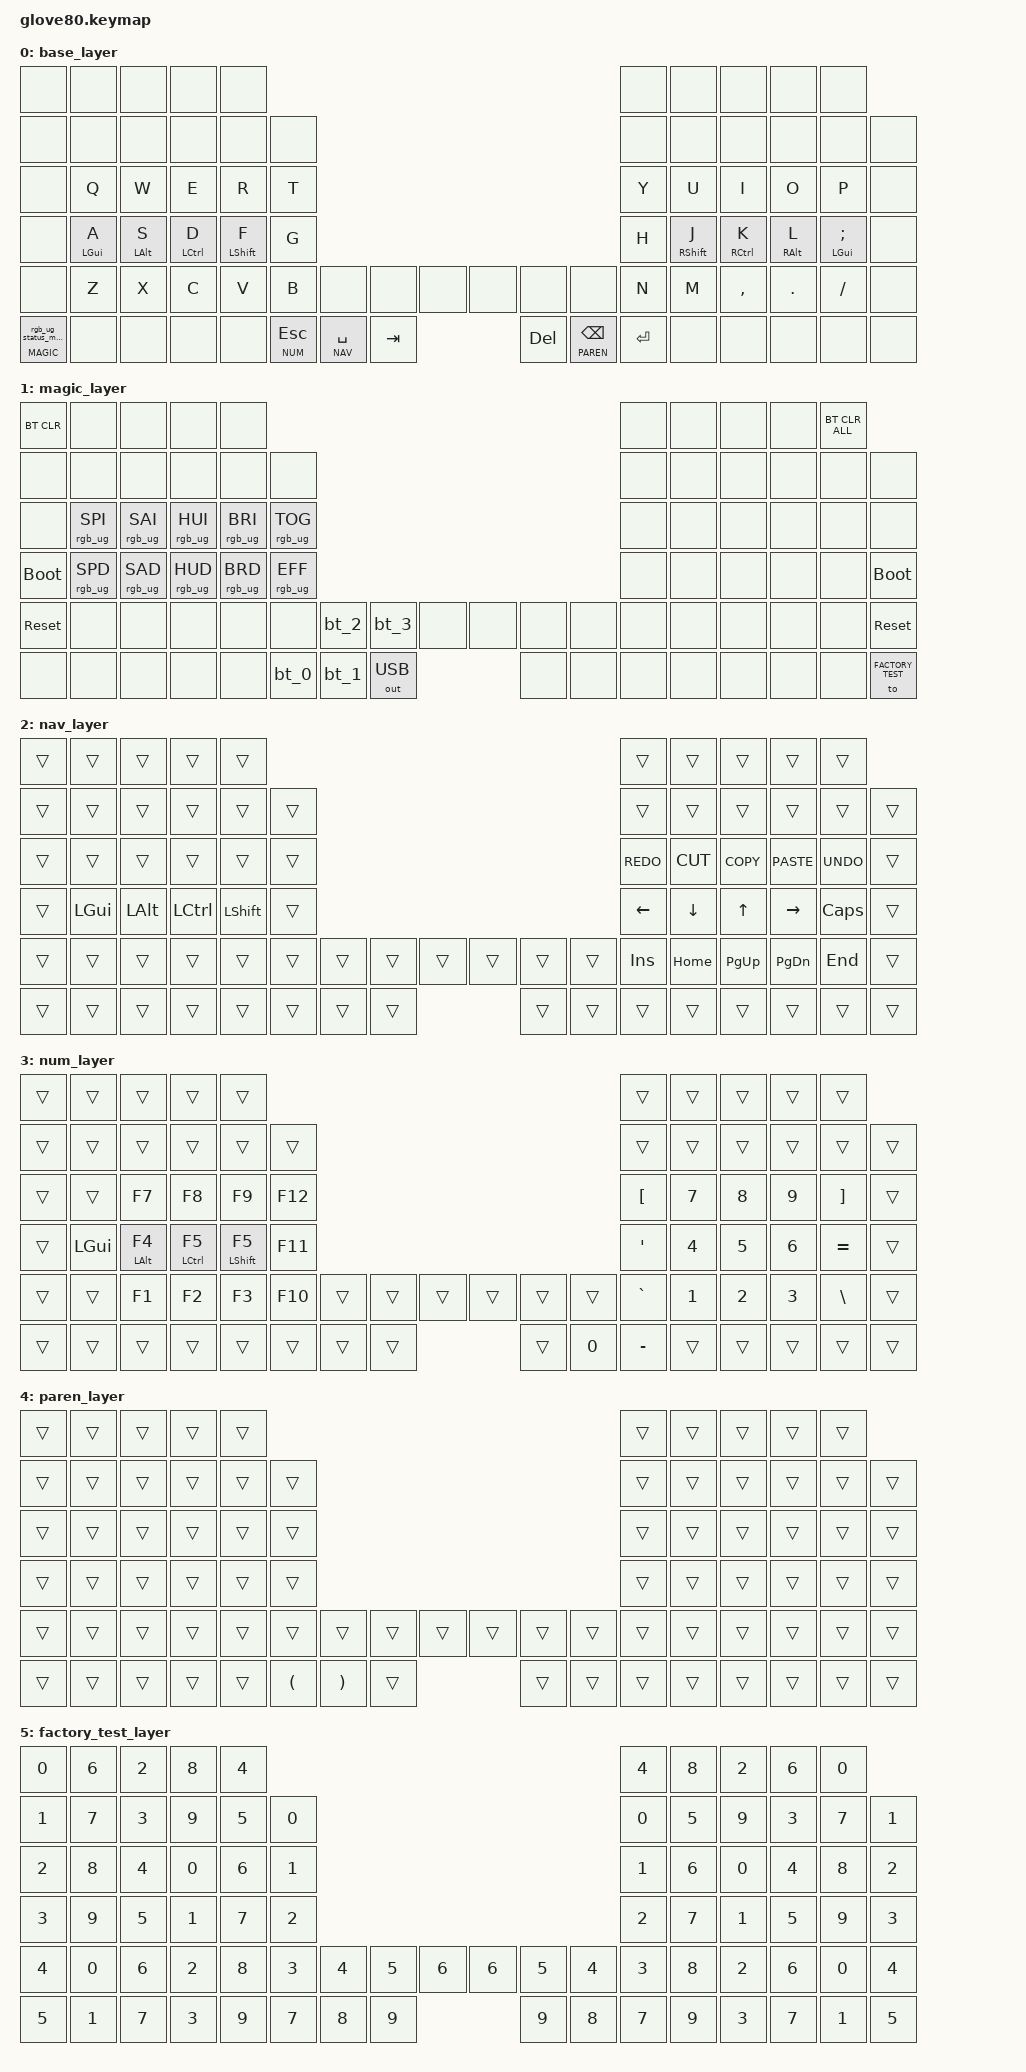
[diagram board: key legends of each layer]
/*
 * Copyright (c) 2020 The ZMK Contributors
 *
 * SPDX-License-Identifier: MIT
 */

#include <behaviors.dtsi>
#include <dt-bindings/zmk/keys.h>
#include <dt-bindings/zmk/bt.h>
#include <dt-bindings/zmk/ext_power.h>
#include <dt-bindings/zmk/outputs.h>
#include <dt-bindings/zmk/rgb.h>

// layers
#define DEFAULT 0
#define MAGIC 1
#define NAV 2
#define NUM 3
#define PAREN 4
#define FACTORY_TEST 5

/ {
    behaviors {
        magic: magic_hold_tap {
            compatible = "zmk,behavior-hold-tap";
            label = "MAGIC_HOLD_TAP";
            #binding-cells = <2>;
            flavor = "tap-preferred";
            tapping-term-ms = <200>;
            bindings = <&mo>, <&rgb_ug_status_macro>;
        };
        bhm: balanced_homerow_mods {
            compatible = "zmk,behavior-hold-tap";
            #binding-cells = <2>;
            tapping-term-ms = <200>;
            quick-tap-ms = <0>;
            flavor = "balanced";
            bindings = <&kp>, <&kp>;
        };
    };

    macros {
        rgb_ug_status_macro: rgb_ug_status_macro_0 {
            label = "RGB_UG_STATUS";
            compatible = "zmk,behavior-macro";
            #binding-cells = <0>;
            bindings
                = <&rgb_ug RGB_STATUS>;
        };

        bt_0: bt_profile_macro_0 {
            label = "BT_0";
            compatible = "zmk,behavior-macro";
            #binding-cells = <0>;
            bindings
                = <&out OUT_BLE>,
                  <&bt BT_SEL 0>;
        };

        bt_1: bt_profile_macro_1 {
            label = "BT_1";
            compatible = "zmk,behavior-macro";
            #binding-cells = <0>;
            bindings
                = <&out OUT_BLE>,
                  <&bt BT_SEL 1>;
        };

        bt_2: bt_profile_macro_2 {
            label = "BT_2";
            compatible = "zmk,behavior-macro";
            #binding-cells = <0>;
            bindings
                = <&out OUT_BLE>,
                  <&bt BT_SEL 2>;
        };

        bt_3: bt_profile_macro_3 {
            label = "BT_3";
            compatible = "zmk,behavior-macro";
            #binding-cells = <0>;
            bindings
                = <&out OUT_BLE>,
                  <&bt BT_SEL 3>;
        };
    };

    keymap {
        compatible = "zmk,keymap";

        base_layer {
            // ---------------------------------------------------------------------------------------------------------------------------------
            // |  --   |  -- |  -- |  --  |  --  |                                                               |  --   |  --   |  --  |   --  |   -- |
            // |  --   |  -- |  -- |  --  |  --  |  --  |                                                 |  --  |   --  |   --  |  --  |   --  |   -- |
            // |  --   |  Q  |  W  |  E   |  R   |  T   |                                                 |  Y   |   U   |   I   |  O   |   P   |   -- |
            // |  --   |  A  |  S  |  D   |  F   |  G   |                                                 |  H   |   J   |   K   |  L   |   ;   |   -- |
            // |  --   |  Z  |  X  |  C   |  V   |  B   |   --  |   --  |   --  | |   --  |   --  |   --  |  N   |   M   |   ,   |  .   |   /   |   -- |
            // | MAGIC | --  |  -- |  --  |  --  |      |   TAB |   ESC | SPACE | |  BSPC |   RET |   DEL |      |   --  |   --  |  --  |   --  |   -- |

            bindings = <
            &none          &none       &none       &none        &none                                                                                      &none         &none         &none        &none       &none
            &none          &none       &none       &none        &none         &none                                                                        &none         &none         &none        &none       &none             &none
            &none          &kp Q       &kp W       &kp E        &kp R         &kp T                                                                        &kp Y         &kp U         &kp I        &kp O       &kp P             &none
            &none          &bhm LGUI A &bhm LALT S &bhm LCTRL D &bhm LSHIFT F &kp G                                                                        &kp H         &bhm RSHIFT J &bhm RCTRL K &bhm RALT L &bhm LGUI SEMI    &none
            &none          &kp Z       &kp X       &kp C        &kp V         &kp B &none       &none         &none       &none         &none        &none &kp N         &kp M         &kp COMMA    &kp DOT     &kp FSLH          &none
            &magic MAGIC 0 &none       &none       &none        &none               &lt NUM ESC &lt NAV SPACE &kp TAB     &kp DEL       &lt PAREN BSPC     &kp RET             &none         &none        &none       &none             &none
            >;
        };

        magic_layer {
            bindings = <
            &bt BT_CLR        &none               &none           &none           &none                                                                                                           &none      &none      &none      &none      &bt BT_CLR_ALL
            &none             &none               &none           &none           &none           &none                                                                                &none      &none      &none      &none      &none      &none
            &none             &rgb_ug RGB_SPI     &rgb_ug RGB_SAI &rgb_ug RGB_HUI &rgb_ug RGB_BRI &rgb_ug RGB_TOG                                                                      &none      &none      &none      &none      &none      &none
            &bootloader       &rgb_ug RGB_SPD     &rgb_ug RGB_SAD &rgb_ug RGB_HUD &rgb_ug RGB_BRD &rgb_ug RGB_EFF                                                                      &none      &none      &none      &none      &none      &bootloader
            &sys_reset        &none               &none           &none           &none           &none           &bt_2     &bt_3     &none            &none     &none     &none       &none      &none      &none      &none      &none      &sys_reset
            &none             &none               &none           &none           &none                           &bt_0     &bt_1     &out OUT_USB     &none     &none     &none                  &none      &none      &none      &none      &to FACTORY_TEST
            >;
        };

        nav_layer {
            bindings = <
            &trans        &trans        &trans        &trans        &trans                                                                                                  &trans        &trans        &trans        &trans        &trans
            &trans        &trans        &trans        &trans        &trans        &trans                                                                      &trans        &trans        &trans        &trans        &trans        &trans
            &trans        &trans        &trans        &trans        &trans        &trans                                                                      &kp K_REDO    &kp K_CUT     &kp K_COPY    &kp K_PASTE   &kp K_UNDO    &trans
            &trans        &kp LGUI      &kp LALT      &kp LCTRL     &kp LSHIFT    &trans                                                                      &kp LEFT      &kp DOWN      &kp UP        &kp RIGHT     &kp CAPS      &trans
            &trans        &trans        &trans        &trans        &trans        &trans          &trans   &trans  &trans   &trans   &trans   &trans          &kp INSERT    &kp HOME      &kp PG_UP     &kp PG_DN     &kp END       &trans
            &trans        &trans        &trans        &trans        &trans                        &trans   &trans  &trans   &trans   &trans   &trans                        &trans        &trans        &trans        &trans        &trans
            >;
        };

       num_layer {
            bindings = <
            &trans        &trans        &trans        &trans        &trans                                                                                                  &trans        &trans        &trans        &trans        &trans
            &trans        &trans        &trans        &trans        &trans        &trans                                                                      &trans        &trans        &trans        &trans        &trans        &trans
            &trans        &trans        &kp F7        &kp F8        &kp F9        &kp F12                                                                     &kp LBKT      &kp N7        &kp N8        &kp N9        &kp RBKT      &trans
            &trans        &kp LGUI      &bhm LALT F4  &bhm LCTRL F5 &bhm LSHIFT F5 &kp F11                                                                    &kp SQT       &kp N4        &kp N5        &kp N6        &kp EQUAL     &trans
            &trans        &trans        &kp F1        &kp F2        &kp F3        &kp F10         &trans   &trans  &trans   &trans   &trans   &trans          &kp GRAVE     &kp N1        &kp N2        &kp N3        &kp BSLH      &trans
            &trans        &trans        &trans        &trans        &trans                        &trans   &trans  &trans   &trans   &kp N0   &kp MINUS       &trans        &trans        &trans        &trans        &trans
            >;
        };

       paren_layer {
            bindings = <
            &trans        &trans        &trans        &trans        &trans                                                                                                  &trans        &trans        &trans        &trans        &trans
            &trans        &trans        &trans        &trans        &trans        &trans                                                                      &trans        &trans        &trans        &trans        &trans        &trans
            &trans        &trans        &trans        &trans        &trans        &trans                                                                      &trans        &trans        &trans        &trans        &trans        &trans
            &trans        &trans        &trans        &trans        &trans        &trans                                                                      &trans        &trans        &trans        &trans        &trans        &trans
            &trans        &trans        &trans        &trans        &trans        &trans         &trans   &trans  &trans   &trans   &trans   &trans           &trans        &trans        &trans        &trans        &trans        &trans
            &trans        &trans        &trans        &trans        &trans                       &kp LPAR &kp RPAR &trans  &trans   &trans   &trans           &trans        &trans        &trans        &trans        &trans
            >;
        };

        factory_test_layer {
            bindings = <
            &kp N0   &kp N6   &kp N2   &kp N8   &kp N4                                                                              &kp N4   &kp N8   &kp N2   &kp N6   &kp N0
            &kp N1   &kp N7   &kp N3   &kp N9   &kp N5   &kp N0                                                            &kp N0   &kp N5   &kp N9   &kp N3   &kp N7   &kp N1
            &kp N2   &kp N8   &kp N4   &kp N0   &kp N6   &kp N1                                                            &kp N1   &kp N6   &kp N0   &kp N4   &kp N8   &kp N2
            &kp N3   &kp N9   &kp N5   &kp N1   &kp N7   &kp N2                                                            &kp N2   &kp N7   &kp N1   &kp N5   &kp N9   &kp N3
            &kp N4   &kp N0   &kp N6   &kp N2   &kp N8   &kp N3   &kp N4   &kp N5   &kp N6      &kp N6   &kp N5   &kp N4   &kp N3   &kp N8   &kp N2   &kp N6   &kp N0   &kp N4
            &kp N5   &kp N1   &kp N7   &kp N3   &kp N9            &kp N7   &kp N8   &kp N9      &kp N9   &kp N8   &kp N7            &kp N9   &kp N3   &kp N7   &kp N1   &kp N5
            >;
        };
    };
};
